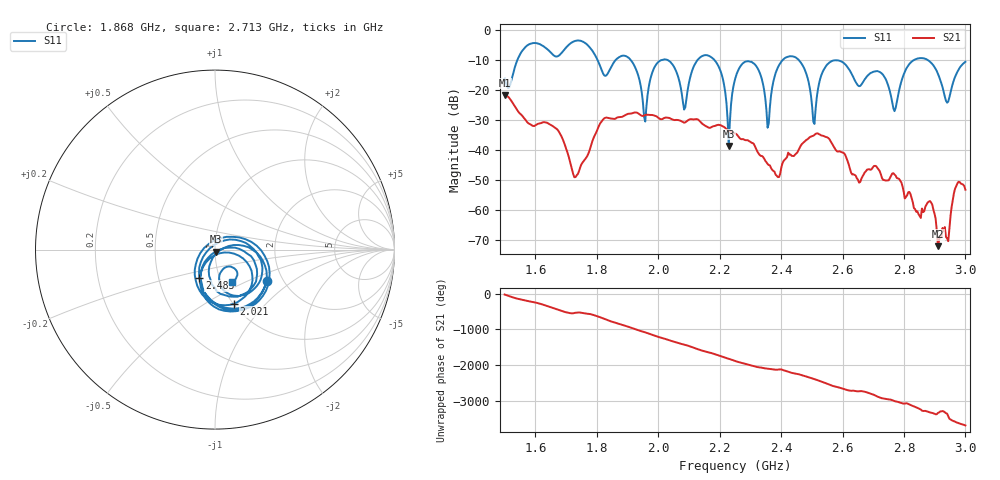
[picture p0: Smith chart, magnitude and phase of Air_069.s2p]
# HZ S RI R 50
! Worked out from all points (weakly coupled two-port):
!   404 points, 1.5 GHz to 3 GHz, reference 50 ohm
!   highest |S21| = -21.71 dB at 1.5 GHz (marker M1); lowest = -72.0 dB at 2.911 GHz (marker M2)
!   lowest |S11| = -38.7 dB at 2.23 GHz (marker M3), VSWR 1.02, Z = 50.4 - j1.09 ohm
!   |S11| at or under -10 dB: 2.182 GHz to 2.406 GHz (224.4 MHz wide, 9.78 % of centre); 2.457 GHz to 2.835 GHz (378.1 MHz wide, 14.3 % of centre); 2.875 GHz to end of sweep (the widest 3 of 7)
!   S12 and S22 are empty: the file has one direction only
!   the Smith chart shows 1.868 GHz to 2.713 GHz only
!   S11 on the Smith chart (normalised r, x): 1.868 GHz: 1.65, -0.65; 2.021 GHz: 1.00, -0.68; 2.483 GHz: 0.80, -0.26; 2.713 GHz: 1.12, -0.43
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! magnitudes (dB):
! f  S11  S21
! 1.5 GHz  -16.4  -21.7
! 1.753 GHz  -3.9  -44.3
! 1.868 GHz  -9.5  -29.2
! 1.958 GHz  -30.6  -28.4
! 2.002 GHz  -10.6  -29.5
! 2.021 GHz  -9.9  -29.3
! 2.084 GHz  -26.6  -30.9
! 2.177 GHz  -9.5  -32.2
! 2.23 GHz  -38.7  -33.6
! 2.252 GHz  -15.9  -34.6
! 2.315 GHz  -11.6  -38.9
! 2.356 GHz  -32.6  -44.7
! 2.39 GHz  -12.6  -49.0
! 2.483 GHz  -14.8  -36.6
! 2.501 GHz  -25.8  -35.4
! 2.565 GHz  -10.5  -37.7
! 2.713 GHz  -13.8  -46.0
! 2.751 GHz  -19.2  -50.1
! 2.911 GHz  -14.7  -72.0
! 2.94 GHz  -24.3  -69.4
! 2.97 GHz  -14.8  -52.1
! 3 GHz  -10.7  -53.2
